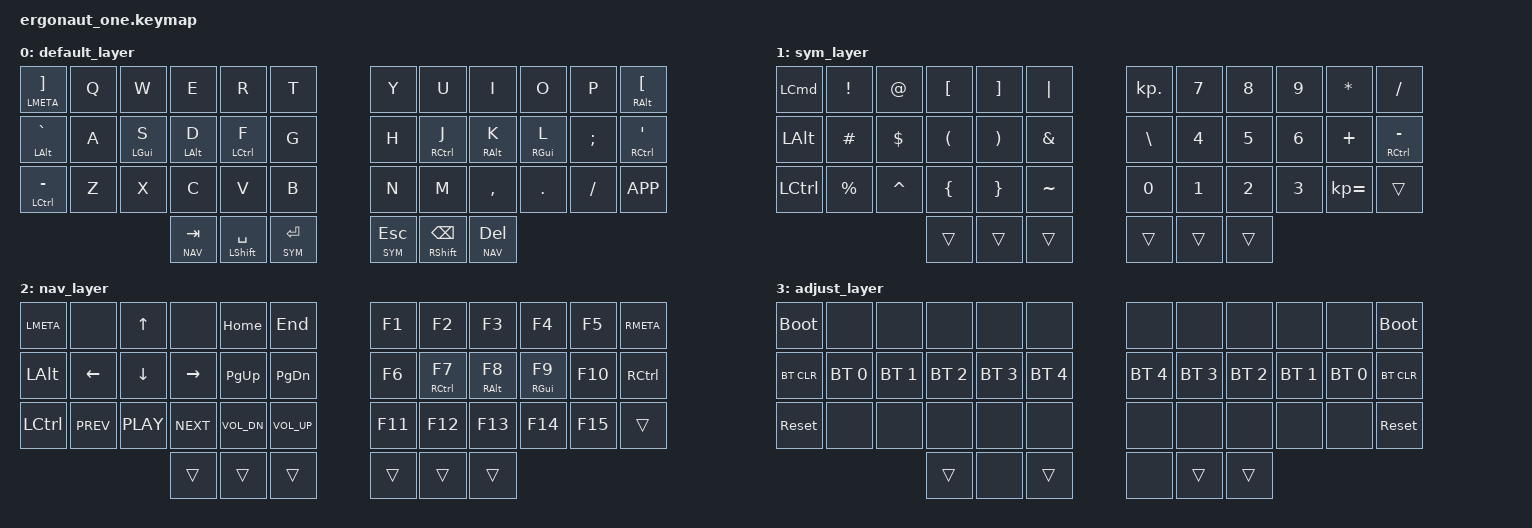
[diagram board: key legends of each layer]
#include <behaviors.dtsi>
#include <dt-bindings/zmk/bt.h>
#include <dt-bindings/zmk/keys.h>

#define DEF 0
#define SYM 1
#define NAV 2
#define ADJ 3

&lt { quick-tap-ms = <200>; };

&mt { quick-tap-ms = <200>; };

#define KEYS_L 0 1 2 3 4 5 12 13 14 15 16 17 24 25 26 27 28 29
#define KEYS_R 6 7 8 9 10 11 18 19 20 21 22 23 30 31 32 33 34 35
#define THUMBS 36 37 38 39 40 41

/ {
    behaviors {
        hml: home_row_mod_left {
            compatible = "zmk,behavior-hold-tap";
            #binding-cells = <2>;
            flavor = "balanced";
            tapping-term-ms = <280>;
            quick-tap-ms = <175>;
            require-prior-idle-ms = <150>;
            bindings = <&kp>, <&kp>;
            hold-trigger-key-positions = <KEYS_R THUMBS>;
            hold-trigger-on-release;
        };

        hmr: home_row_mod_right {
            compatible = "zmk,behavior-hold-tap";
            #binding-cells = <2>;
            flavor = "balanced";
            tapping-term-ms = <280>;
            quick-tap-ms = <175>;
            require-prior-idle-ms = <150>;
            bindings = <&kp>, <&kp>;
            hold-trigger-key-positions = <KEYS_L THUMBS>;
            hold-trigger-on-release;
        };
    };

    conditional_layers {
        compatible = "zmk,conditional-layers";

        tri-layer {
            if-layers = <SYM NAV>;
            then-layer = <ADJ>;
        };
    };

    keymap {
        compatible = "zmk,keymap";

        default_layer {
            bindings = <
&mt LMETA RBKT      &kp Q  &kp W  &kp E        &kp R             &kp T          &kp Y           &kp U                 &kp I        &kp O    &kp P     &mt RIGHT_ALT LBKT
&mt LEFT_ALT GRAVE  &kp A  &hml LGUI S  &hml LALT D  &hml LCTRL F  &kp G  &kp H  &hmr RCTRL J  &hmr RALT K  &hmr RGUI L  &kp SEMI  &mt RCTRL SQT
&mt LCTRL MINUS     &kp Z  &kp X  &kp C        &kp V             &kp B          &kp N           &kp M                 &kp COMMA    &kp DOT  &kp FSLH  &kp K_APP
                                  &lt NAV TAB  &mt LSHIFT SPACE  &lt SYM ENTER  &lt SYM ESCAPE  &mt RSHIFT BACKSPACE  &lt NAV DEL
            >;
        };

        sym_layer {
            bindings = <
&kp LEFT_COMMAND  &kp EXCL     &kp AT      &kp LEFT_BRACKET      &kp RIGHT_BRACKET      &kp PIPE       &kp KP_DOT     &kp N7        &kp N8  &kp N9  &kp ASTERISK  &kp SLASH
&kp LEFT_ALT      &kp HASH     &kp DOLLAR  &kp LEFT_PARENTHESIS  &kp RIGHT_PARENTHESIS  &kp AMPERSAND  &kp BACKSLASH  &kp NUMBER_4  &kp N5  &kp N6  &kp PLUS      &mt RCTRL MINUS
&kp LCTRL         &kp PERCENT  &kp CARET   &kp LEFT_BRACE        &kp RIGHT_BRACE        &kp TILDE      &kp N0         &kp N1        &kp N2  &kp N3  &kp KP_EQUAL  &trans
                                           &trans                &trans                 &trans         &trans         &trans        &trans
            >;
        };

        nav_layer {
            bindings = <
&kp LMETA  &none       &kp UP      &none       &kp HOME      &kp END        &kp F1   &kp F2   &kp F3   &kp F4   &kp F5   &kp RMETA
&kp LALT   &kp LEFT    &kp DOWN    &kp RIGHT   &kp PG_UP     &kp PAGE_DOWN  &kp F6   &hmr RCTRL F7  &hmr RALT F8  &hmr RGUI F9  &kp F10  &kp RCTRL
&kp LCTRL  &kp C_PREV  &kp C_PLAY  &kp C_NEXT  &kp C_VOL_DN  &kp C_VOL_UP   &kp F11  &kp F12  &kp F13  &kp F14  &kp F15  &trans
                                   &trans      &trans        &trans         &trans   &trans   &trans
            >;
        };

        adjust_layer {
            bindings = <
&bootloader  &none         &none         &none         &none         &none         &none         &none         &none         &none         &none         &bootloader
&bt BT_CLR   &bt BT_SEL 0  &bt BT_SEL 1  &bt BT_SEL 2  &bt BT_SEL 3  &bt BT_SEL 4  &bt BT_SEL 4  &bt BT_SEL 3  &bt BT_SEL 2  &bt BT_SEL 1  &bt BT_SEL 0  &bt BT_CLR
&sys_reset   &none         &none         &none         &none         &none         &none         &none         &none         &none         &none         &sys_reset
                                         &trans        &none         &trans        &none         &trans        &trans
            >;
        };
    };
};
